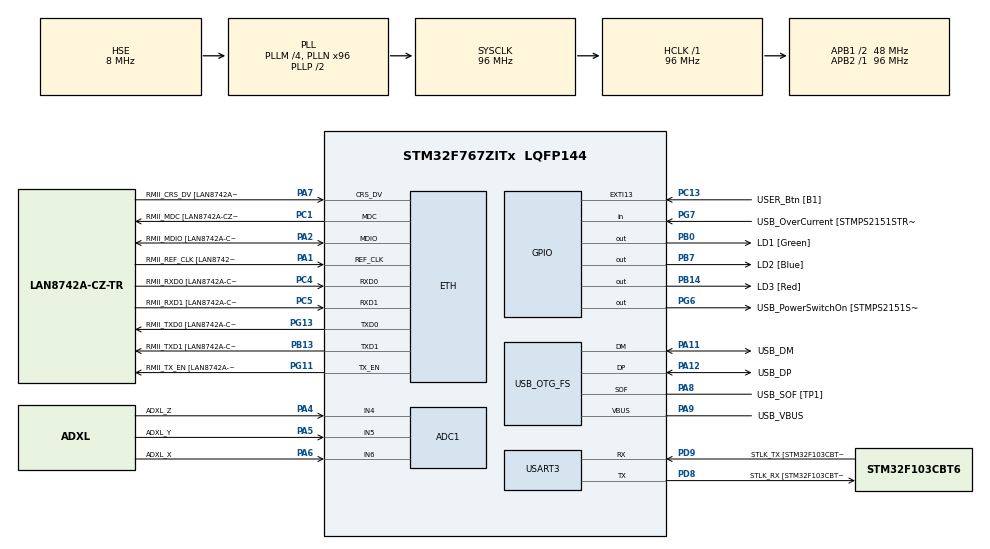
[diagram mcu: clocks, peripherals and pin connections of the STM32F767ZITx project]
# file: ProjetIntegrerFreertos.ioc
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ADC1.Channel-0\#ChannelRegularConversion=ADC_CHANNEL_6
ADC1.Channel-1\#ChannelRegularConversion=ADC_CHANNEL_5
ADC1.Channel-2\#ChannelRegularConversion=ADC_CHANNEL_4
ADC1.DMAContinuousRequests=ENABLE
ADC1.ExternalTrigConv=ADC_EXTERNALTRIGCONV_T2_TRGO
ADC1.NbrOfConversion=3
ADC1.NbrOfConversionFlag=1
ADC1.Rank-0\#ChannelRegularConversion=1
ADC1.Rank-1\#ChannelRegularConversion=2
ADC1.Rank-2\#ChannelRegularConversion=3
ADC1.SamplingTime-0\#ChannelRegularConversion=ADC_SAMPLETIME_144CYCLES
ADC1.SamplingTime-1\#ChannelRegularConversion=ADC_SAMPLETIME_144CYCLES
ADC1.SamplingTime-2\#ChannelRegularConversion=ADC_SAMPLETIME_144CYCLES
ADC1.ScanConvMode=ADC_SCAN_ENABLE
ADC1.master=1
CORTEX_M7.default_mode_Activation=1
Dma.ADC1.0.Direction=DMA_PERIPH_TO_MEMORY
Dma.ADC1.0.FIFOMode=DMA_FIFOMODE_DISABLE
Dma.ADC1.0.Instance=DMA2_Stream0
Dma.ADC1.0.MemDataAlignment=DMA_MDATAALIGN_HALFWORD
Dma.ADC1.0.MemInc=DMA_MINC_ENABLE
Dma.ADC1.0.Mode=DMA_CIRCULAR
Dma.ADC1.0.PeriphDataAlignment=DMA_PDATAALIGN_HALFWORD
Dma.ADC1.0.PeriphInc=DMA_PINC_DISABLE
Dma.ADC1.0.Priority=DMA_PRIORITY_LOW
Dma.Request0=ADC1
ETH.MACAddr=02\:00\:00\:00\:00\:02
ETH.MediaInterface=HAL_ETH_RMII_MODE
ETH.PHY_Name=LAN8742A_PHY_ADDRESS
ETH.PHY_Value=0
ETH.PhyAddress=0
FREERTOS.Tasks01=defaultTask,24,256,StartDefaultTask,Default,NULL,Dynamic,NULL,NULL;masterTask,32,256,StartMasterTask,Default,NULL,Dynamic,NULL,NULL;acquisitionTask,40,256,StartAquisitionTask,Default,NULL,Dynamic,NULL,NULL;heartbeatTask,8,256,StartHeartbeatTask,Default,NULL,Dynamic,NULL,NULL;broadcastTask,24,512,StartBroadcastTask,Default,NULL,Dynamic,NULL,NULL;debugTask,16,256,StartDebugTask,Default,NULL,Dynamic,NULL,NULL
LWIP.BSP.number=1
LWIP.IP_ADDRESS=192.168.001.002
LWIP.LWIP_DHCP=0
LWIP.NETMASK_ADDRESS=255.255.255.240
LWIP.Version=v2.1.2_Cube
LWIP0.BSP.STBoard=false
LWIP0.BSP.api=BSP_COMPONENT_DRIVER
LWIP0.BSP.component=LAN8742
LWIP0.BSP.instance=LAN8742
LWIP0.BSP.name=Driver_PHY
LWIP0.BSP.semaphore=S_LAN8742
LWIP0.BSP.solution=LAN8742
Mcu.Family=STM32F7
Mcu.Name=STM32F767ZITx
Mcu.Package=LQFP144
NVIC.DMA2_Stream0_IRQn=true\:5\:0\:false\:false\:true\:true\:false\:true\:true
NVIC.ETH_IRQn=true\:5\:0\:false\:false\:true\:true\:false\:true\:true
NVIC.EXTI15_10_IRQn=true\:5\:0\:false\:false\:true\:true\:true\:true\:true
NVIC.PriorityGroup=NVIC_PRIORITYGROUP_4
NVIC.TIM6_DAC_IRQn=true\:15\:0\:false\:false\:true\:false\:false\:true\:true
NVIC.TimeBase=TIM6_DAC_IRQn
NVIC.TimeBaseIP=TIM6
PA1.GPIO_Label=RMII_REF_CLK [LAN8742A-CZ-TR_REFCLK0]
PA1.Mode=RMII
PA1.Signal=ETH_REF_CLK
PA10.GPIO_Label=USB_ID
PA10.Signal=USB_OTG_FS_ID
PA11.GPIO_Label=USB_DM
PA11.Mode=Device_Only
PA11.Signal=USB_OTG_FS_DM
PA12.GPIO_Label=USB_DP
PA12.Mode=Device_Only
PA12.Signal=USB_OTG_FS_DP
PA13.GPIO_Label=TMS
PA13.Mode=Serial_Wire
PA13.Signal=SYS_JTMS-SWDIO
PA14.GPIO_Label=TCK
PA14.Mode=Serial_Wire
PA14.Signal=SYS_JTCK-SWCLK
PA2.GPIO_Label=RMII_MDIO [LAN8742A-CZ-TR_MDIO]
PA2.Mode=RMII
PA2.Signal=ETH_MDIO
PA4.GPIO_Label=ADXL_Z
PA4.Signal=ADCx_IN4
PA5.GPIO_Label=ADXL_Y
PA5.Signal=ADCx_IN5
PA6.GPIO_Label=ADXL_X
PA6.Signal=ADCx_IN6
PA7.GPIO_Label=RMII_CRS_DV [LAN8742A-CZ-TR_CRS_DV]
PA7.Mode=RMII
PA7.Signal=ETH_CRS_DV
PA8.GPIO_Label=USB_SOF [TP1]
PA8.Mode=Activate_SOF_FS
PA8.Signal=USB_OTG_FS_SOF
PA9.GPIO_Label=USB_VBUS
PA9.Mode=Activate_VBUS
PA9.Signal=USB_OTG_FS_VBUS
PB0.GPIO_Label=LD1 [Green]
PB0.Signal=GPIO_Output
PB13.GPIO_Label=RMII_TXD1 [LAN8742A-CZ-TR_TXD1]
PB13.Mode=RMII
PB13.Signal=ETH_TXD1
PB14.GPIO_Label=LD3 [Red]
PB14.Signal=GPIO_Output
PB3.GPIO_Label=SWO
PB3.Signal=SYS_JTDO-SWO
PB7.GPIO_Label=LD2 [Blue]
PB7.Signal=GPIO_Output
PC1.GPIO_Label=RMII_MDC [LAN8742A-CZ-TR_MDC]
PC1.Mode=RMII
PC1.Signal=ETH_MDC
PC13.GPIO_Label=USER_Btn [B1]
PC13.Signal=GPXTI13
PC14/OSC32_IN.Mode=LSE-External-Oscillator
PC14/OSC32_IN.Signal=RCC_OSC32_IN
PC15/OSC32_OUT.Mode=LSE-External-Oscillator
PC15/OSC32_OUT.Signal=RCC_OSC32_OUT
PC4.GPIO_Label=RMII_RXD0 [LAN8742A-CZ-TR_RXD0]
PC4.Mode=RMII
PC4.Signal=ETH_RXD0
PC5.GPIO_Label=RMII_RXD1 [LAN8742A-CZ-TR_RXD1]
PC5.Mode=RMII
PC5.Signal=ETH_RXD1
PD8.GPIO_Label=STLK_RX [STM32F103CBT6_PA3]
PD8.Mode=Asynchronous
PD8.Signal=USART3_TX
PD9.GPIO_Label=STLK_TX [STM32F103CBT6_PA2]
PD9.Mode=Asynchronous
PD9.Signal=USART3_RX
PG11.GPIO_Label=RMII_TX_EN [LAN8742A-CZ-TR_TXEN]
PG11.Mode=RMII
PG11.Signal=ETH_TX_EN
PG13.GPIO_Label=RMII_TXD0 [LAN8742A-CZ-TR_TXD0]
PG13.Mode=RMII
PG13.Signal=ETH_TXD0
PG6.GPIO_Label=USB_PowerSwitchOn [STMPS2151STR_EN]
PG6.Signal=GPIO_Output
PG7.GPIO_Label=USB_OverCurrent [STMPS2151STR_FAULT]
PG7.Signal=GPIO_Input
PH0/OSC_IN.GPIO_Label=MCO [STM32F103CBT6_PA8]
PH0/OSC_IN.Mode=HSE-External-Clock-Source
PH0/OSC_IN.Signal=RCC_OSC_IN
PH1/OSC_OUT.Mode=HSE-External-Clock-Source
PH1/OSC_OUT.Signal=RCC_OSC_OUT
ProjectManager.HeapSize=0x200
ProjectManager.StackSize=0x400
ProjectManager.TargetToolchain=STM32CubeIDE
RCC.48MHZClocksFreq_Value=24000000
RCC.AHBFreq_Value=96000000
RCC.APB1CLKDivider=RCC_HCLK_DIV2
RCC.APB1Freq_Value=48000000
RCC.APB1TimFreq_Value=96000000
RCC.APB2Freq_Value=96000000
RCC.APB2TimFreq_Value=96000000
RCC.CortexFreq_Value=96000000
RCC.HCLKFreq_Value=96000000
RCC.HSE_VALUE=8000000
RCC.HSI_VALUE=16000000
RCC.PLLM=4
RCC.PLLMUL=RCC_PLL_MUL9
RCC.PLLN=96
RCC.PLLQ=4
RCC.PRESCALERUSB=RCC_USBCLKSOURCE_PLL_DIV1_5
RCC.SYSCLKFreq_VALUE=96000000
RCC.SYSCLKSource=RCC_SYSCLKSOURCE_PLLCLK
RCC.SYSCLKSourceVirtual=RCC_SYSCLKSOURCE_PLLCLK
RCC.USBFreq_Value=48000000
RCC.VCOOutputFreq_Value=192000000
SH.ADCx_IN4.0=ADC1_IN4,IN4
SH.ADCx_IN5.0=ADC1_IN5,IN5
SH.ADCx_IN6.0=ADC1_IN6,IN6
TIM2.Period=9999
TIM2.Prescaler=95
TIM2.TIM_MasterOutputTrigger=TIM_TRGO_UPDATE
USART3.VirtualMode-Asynchronous=VM_ASYNC
USB_OTG_FS.VirtualMode=Device_Only
VP_FREERTOS_VS_CMSIS_V2.Mode=CMSIS_V2
VP_LWIP_VS_Enabled.Mode=Enabled
VP_SYS_VS_tim6.Mode=TIM6
VP_TIM2_VS_ClockSourceINT.Mode=Internal
board=NUCLEO-F767ZI

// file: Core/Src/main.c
/* USER CODE BEGIN Header */
/**
 ******************************************************************************
 * @file           : main.c
 * @brief          : Main program body
 ******************************************************************************
 * @attention
 *
 * Copyright (c) 2026 STMicroelectronics.
 * All rights reserved.
 *
 * This software is licensed under terms that can be found in the LICENSE file
 * in the root directory of this software component.
 * If no LICENSE file comes with this software, it is provided AS-IS.
 *
 ******************************************************************************
 */
/* USER CODE END Header */
#include "main.h"
#include "cmsis_os.h"
#include "lwip.h"

/* USER CODE BEGIN PD */
#define SYSTEME_EN_MARCHE 1U
#define ADC_NB_VOIES      3U
/* USER CODE END PD */

ADC_HandleTypeDef hadc1;
DMA_HandleTypeDef hdma_adc1;

TIM_HandleTypeDef htim2;

UART_HandleTypeDef huart3;

PCD_HandleTypeDef hpcd_USB_OTG_FS;

/* Definitions for defaultTask */
osThreadId_t defaultTaskHandle;
const osThreadAttr_t defaultTask_attributes = {
		.name = "defaultTask",
		.stack_size = 256 * 4,
		.priority = (osPriority_t) osPriorityNormal,
};
/* Definitions for masterTask */
osThreadId_t masterTaskHandle;
const osThreadAttr_t masterTask_attributes = {
		.name = "masterTask",
		.stack_size = 256 * 4,
		.priority = (osPriority_t) osPriorityAboveNormal,
};
/* Definitions for acquisitionTask */
osThreadId_t acquisitionTaskHandle;
const osThreadAttr_t acquisitionTask_attributes = {
		.name = "acquisitionTask",
		.stack_size = 256 * 4,
		.priority = (osPriority_t) osPriorityHigh,
};
/* Definitions for heartbeatTask */
osThreadId_t heartbeatTaskHandle;
const osThreadAttr_t heartbeatTask_attributes = {
		.name = "heartbeatTask",
		.stack_size = 256 * 4,
		.priority = (osPriority_t) osPriorityLow,
};
/* Definitions for broadcastTask */
osThreadId_t broadcastTaskHandle;
const osThreadAttr_t broadcastTask_attributes = {
		.name = "broadcastTask",
		.stack_size = 512 * 4,
		.priority = (osPriority_t) osPriorityNormal,
};
/* Definitions for debugTask */
osThreadId_t debugTaskHandle;
const osThreadAttr_t debugTask_attributes = {
		.name = "debugTask",
		.stack_size = 256 * 4,
		.priority = (osPriority_t) osPriorityBelowNormal,
};
/* USER CODE BEGIN PV */

static osEventFlagsId_t etatSysteme;
static osSemaphoreId_t btnSem;
static uint16_t adcBuffer[ADC_NB_VOIES];
static volatile uint8_t dmaConvComplete = 0U;
static volatile uint16_t dernierAx = 0U;
static volatile uint16_t dernierAy = 0U;
static volatile uint16_t dernierAz = 0U;

/* USER CODE END PV */

void SystemClock_Config(void);
static void MPU_Config(void);
static void MX_GPIO_Init(void);
static void MX_DMA_Init(void);
static void MX_ADC1_Init(void);
static void MX_USART3_UART_Init(void);
static void MX_USB_OTG_FS_PCD_Init(void);
static void MX_TIM2_Init(void);
void StartDefaultTask(void *argument);
void StartMasterTask(void *argument);
void StartAquisitionTask(void *argument);
void StartHeartbeatTask(void *argument);
void StartBroadcastTask(void *argument);
void StartDebugTask(void *argument);

int main(void)
{

	/* MPU Configuration--------------------------------------------------------*/
	MPU_Config();

	/* MCU Configuration--------------------------------------------------------*/

	/* Reset of all peripherals, Initializes the Flash interface and the Systick. */
	HAL_Init();

	/* Configure the system clock */
	SystemClock_Config();

	/* Initialize all configured peripherals */
	MX_GPIO_Init();
	MX_DMA_Init();
	MX_ADC1_Init();
	MX_USART3_UART_Init();
	MX_USB_OTG_FS_PCD_Init();
	MX_TIM2_Init();

	/* Init scheduler */
	osKernelInitialize();

	/* USER CODE BEGIN RTOS_SEMAPHORES */
	btnSem = osSemaphoreNew(1, 0, NULL);
	if (btnSem == NULL)
	{
		Error_Handler();
	}
	/* USER CODE END RTOS_SEMAPHORES */

	/* Create the thread(s) */
	/* creation of defaultTask */
	defaultTaskHandle = osThreadNew(StartDefaultTask, NULL, &defaultTask_attributes);

	/* creation of masterTask */
	masterTaskHandle = osThreadNew(StartMasterTask, NULL, &masterTask_attributes);

	/* creation of acquisitionTask */
	acquisitionTaskHandle = osThreadNew(StartAquisitionTask, NULL, &acquisitionTask_attributes);

	/* creation of heartbeatTask */
	heartbeatTaskHandle = osThreadNew(StartHeartbeatTask, NULL, &heartbeatTask_attributes);

	/* creation of broadcastTask */
	broadcastTaskHandle = osThreadNew(StartBroadcastTask, NULL, &broadcastTask_attributes);

	/* creation of debugTask */
	debugTaskHandle = osThreadNew(StartDebugTask, NULL, &debugTask_attributes);

	/* USER CODE BEGIN RTOS_EVENTS */

	// Crée le groupe de drapeaux du système avec les attributs par défaut.
	etatSysteme = osEventFlagsNew(NULL);

	// Si la création échoue, le RTOS renvoie NULL.
	if (etatSysteme == NULL)
	{
		Error_Handler(); // Arrête le programme, car les tâches ont besoin de ce groupe.
	}

	/* add events, ... */
	/* USER CODE END RTOS_EVENTS */

	/* Start scheduler */
	osKernelStart();

	/* We should never get here as control is now taken by the scheduler */

	/* Infinite loop */
	while (1)
	{

	}
}

void SystemClock_Config(void)
{
	RCC_OscInitTypeDef RCC_OscInitStruct = {0};
	RCC_ClkInitTypeDef RCC_ClkInitStruct = {0};

	/** Configure LSE Drive Capability
	 */
	HAL_PWR_EnableBkUpAccess();

	/** Configure the main internal regulator output voltage
	 */
	__HAL_RCC_PWR_CLK_ENABLE();
	__HAL_PWR_VOLTAGESCALING_CONFIG(PWR_REGULATOR_VOLTAGE_SCALE3);

	/** Initializes the RCC Oscillators according to the specified parameters
	 * in the RCC_OscInitTypeDef structure.
	 */
	RCC_OscInitStruct.OscillatorType = RCC_OSCILLATORTYPE_HSE;
	RCC_OscInitStruct.HSEState = RCC_HSE_BYPASS;
	RCC_OscInitStruct.PLL.PLLState = RCC_PLL_ON;
	RCC_OscInitStruct.PLL.PLLSource = RCC_PLLSOURCE_HSE;
	RCC_OscInitStruct.PLL.PLLM = 4;
	RCC_OscInitStruct.PLL.PLLN = 96;
	RCC_OscInitStruct.PLL.PLLP = RCC_PLLP_DIV2;
	RCC_OscInitStruct.PLL.PLLQ = 4;
	RCC_OscInitStruct.PLL.PLLR = 2;
	if (HAL_RCC_OscConfig(&RCC_OscInitStruct) != HAL_OK)
	{
		Error_Handler();
	}

	/** Activate the Over-Drive mode
	 */
	if (HAL_PWREx_EnableOverDrive() != HAL_OK)
	{
		Error_Handler();
	}

	/** Initializes the CPU, AHB and APB buses clocks
	 */
	RCC_ClkInitStruct.ClockType = RCC_CLOCKTYPE_HCLK|RCC_CLOCKTYPE_SYSCLK
			|RCC_CLOCKTYPE_PCLK1|RCC_CLOCKTYPE_PCLK2;
	RCC_ClkInitStruct.SYSCLKSource = RCC_SYSCLKSOURCE_PLLCLK;
	RCC_ClkInitStruct.AHBCLKDivider = RCC_SYSCLK_DIV1;
	RCC_ClkInitStruct.APB1CLKDivider = RCC_HCLK_DIV2;
	RCC_ClkInitStruct.APB2CLKDivider = RCC_HCLK_DIV1;

	if (HAL_RCC_ClockConfig(&RCC_ClkInitStruct, FLASH_LATENCY_3) != HAL_OK)
	{
		Error_Handler();
	}
}

static void MX_ADC1_Init(void)
{

	ADC_ChannelConfTypeDef sConfig = {0};

	/** Configure the global features of the ADC (Clock, Resolution, Data Alignment and number of conversion)
	 */
	hadc1.Instance = ADC1;
	hadc1.Init.ClockPrescaler = ADC_CLOCK_SYNC_PCLK_DIV4;
	hadc1.Init.Resolution = ADC_RESOLUTION_12B;
	hadc1.Init.ScanConvMode = ADC_SCAN_ENABLE;
	hadc1.Init.ContinuousConvMode = DISABLE;
	hadc1.Init.DiscontinuousConvMode = DISABLE;
	hadc1.Init.ExternalTrigConvEdge = ADC_EXTERNALTRIGCONVEDGE_RISING;
	hadc1.Init.ExternalTrigConv = ADC_EXTERNALTRIGCONV_T2_TRGO;
	hadc1.Init.DataAlign = ADC_DATAALIGN_RIGHT;
	hadc1.Init.NbrOfConversion = 3;
	hadc1.Init.DMAContinuousRequests = ENABLE;
	hadc1.Init.EOCSelection = ADC_EOC_SINGLE_CONV;
	if (HAL_ADC_Init(&hadc1) != HAL_OK)
	{
		Error_Handler();
	}

	/** Configure for the selected ADC regular channel its corresponding rank in the sequencer and its sample time.
	 */
	sConfig.Channel = ADC_CHANNEL_6;
	sConfig.Rank = ADC_REGULAR_RANK_1;
	sConfig.SamplingTime = ADC_SAMPLETIME_144CYCLES;
	if (HAL_ADC_ConfigChannel(&hadc1, &sConfig) != HAL_OK)
	{
		Error_Handler();
	}

	/** Configure for the selected ADC regular channel its corresponding rank in the sequencer and its sample time.
	 */
	sConfig.Channel = ADC_CHANNEL_5;
	sConfig.Rank = ADC_REGULAR_RANK_2;
	if (HAL_ADC_ConfigChannel(&hadc1, &sConfig) != HAL_OK)
	{
		Error_Handler();
	}

	/** Configure for the selected ADC regular channel its corresponding rank in the sequencer and its sample time.
	 */
	sConfig.Channel = ADC_CHANNEL_4;
	sConfig.Rank = ADC_REGULAR_RANK_3;
	if (HAL_ADC_ConfigChannel(&hadc1, &sConfig) != HAL_OK)
	{
		Error_Handler();
	}

}

static void MX_TIM2_Init(void)
{

	TIM_ClockConfigTypeDef sClockSourceConfig = {0};
	TIM_MasterConfigTypeDef sMasterConfig = {0};

	htim2.Instance = TIM2;
	htim2.Init.Prescaler = 95;
	htim2.Init.CounterMode = TIM_COUNTERMODE_UP;
	htim2.Init.Period = 9999;
	htim2.Init.ClockDivision = TIM_CLOCKDIVISION_DIV1;
	htim2.Init.AutoReloadPreload = TIM_AUTORELOAD_PRELOAD_DISABLE;
	if (HAL_TIM_Base_Init(&htim2) != HAL_OK)
	{
		Error_Handler();
	}
	sClockSourceConfig.ClockSource = TIM_CLOCKSOURCE_INTERNAL;
	if (HAL_TIM_ConfigClockSource(&htim2, &sClockSourceConfig) != HAL_OK)
	{
		Error_Handler();
	}
	sMasterConfig.MasterOutputTrigger = TIM_TRGO_UPDATE;
	sMasterConfig.MasterSlaveMode = TIM_MASTERSLAVEMODE_DISABLE;
	if (HAL_TIMEx_MasterConfigSynchronization(&htim2, &sMasterConfig) != HAL_OK)
	{
		Error_Handler();
	}

}

static void MX_USART3_UART_Init(void)
{

	huart3.Instance = USART3;
	huart3.Init.BaudRate = 115200;
	huart3.Init.WordLength = UART_WORDLENGTH_8B;
	huart3.Init.StopBits = UART_STOPBITS_1;
	huart3.Init.Parity = UART_PARITY_NONE;
	huart3.Init.Mode = UART_MODE_TX_RX;
	huart3.Init.HwFlowCtl = UART_HWCONTROL_NONE;
	huart3.Init.OverSampling = UART_OVERSAMPLING_16;
	huart3.Init.OneBitSampling = UART_ONE_BIT_SAMPLE_DISABLE;
	huart3.AdvancedInit.AdvFeatureInit = UART_ADVFEATURE_NO_INIT;
	if (HAL_UART_Init(&huart3) != HAL_OK)
	{
		Error_Handler();
	}

}

static void MX_USB_OTG_FS_PCD_Init(void)
{

	hpcd_USB_OTG_FS.Instance = USB_OTG_FS;
	hpcd_USB_OTG_FS.Init.dev_endpoints = 6;
	hpcd_USB_OTG_FS.Init.speed = PCD_SPEED_FULL;
	hpcd_USB_OTG_FS.Init.dma_enable = DISABLE;
	hpcd_USB_OTG_FS.Init.phy_itface = PCD_PHY_EMBEDDED;
	hpcd_USB_OTG_FS.Init.Sof_enable = ENABLE;
	hpcd_USB_OTG_FS.Init.low_power_enable = DISABLE;
	hpcd_USB_OTG_FS.Init.lpm_enable = DISABLE;
	hpcd_USB_OTG_FS.Init.vbus_sensing_enable = ENABLE;
	hpcd_USB_OTG_FS.Init.use_dedicated_ep1 = DISABLE;
	if (HAL_PCD_Init(&hpcd_USB_OTG_FS) != HAL_OK)
	{
		Error_Handler();
	}

}

static void MX_DMA_Init(void)
{

	/* DMA controller clock enable */
	__HAL_RCC_DMA2_CLK_ENABLE();

	/* DMA interrupt init */
	/* DMA2_Stream0_IRQn interrupt configuration */
	HAL_NVIC_SetPriority(DMA2_Stream0_IRQn, 5, 0);
	HAL_NVIC_EnableIRQ(DMA2_Stream0_IRQn);

}

static void MX_GPIO_Init(void)
{
	GPIO_InitTypeDef GPIO_InitStruct = {0};

	/* GPIO Ports Clock Enable */
	__HAL_RCC_GPIOC_CLK_ENABLE();
	__HAL_RCC_GPIOH_CLK_ENABLE();
	__HAL_RCC_GPIOA_CLK_ENABLE();
	__HAL_RCC_GPIOB_CLK_ENABLE();
	__HAL_RCC_GPIOD_CLK_ENABLE();
	__HAL_RCC_GPIOG_CLK_ENABLE();

	/*Configure GPIO pin Output Level */
	HAL_GPIO_WritePin(GPIOB, LD1_Pin|LD3_Pin|LD2_Pin, GPIO_PIN_RESET);

	/*Configure GPIO pin Output Level */
	HAL_GPIO_WritePin(USB_PowerSwitchOn_GPIO_Port, USB_PowerSwitchOn_Pin, GPIO_PIN_RESET);

	/*Configure GPIO pin : USER_Btn_Pin */
	GPIO_InitStruct.Pin = USER_Btn_Pin;
	GPIO_InitStruct.Mode = GPIO_MODE_IT_RISING;
	GPIO_InitStruct.Pull = GPIO_NOPULL;
	HAL_GPIO_Init(USER_Btn_GPIO_Port, &GPIO_InitStruct);

	/*Configure GPIO pins : LD1_Pin LD3_Pin LD2_Pin */
	GPIO_InitStruct.Pin = LD1_Pin|LD3_Pin|LD2_Pin;
	GPIO_InitStruct.Mode = GPIO_MODE_OUTPUT_PP;
	GPIO_InitStruct.Pull = GPIO_NOPULL;
	GPIO_InitStruct.Speed = GPIO_SPEED_FREQ_LOW;
	HAL_GPIO_Init(GPIOB, &GPIO_InitStruct);

	/*Configure GPIO pin : USB_PowerSwitchOn_Pin */
	GPIO_InitStruct.Pin = USB_PowerSwitchOn_Pin;
	GPIO_InitStruct.Mode = GPIO_MODE_OUTPUT_PP;
	GPIO_InitStruct.Pull = GPIO_NOPULL;
	GPIO_InitStruct.Speed = GPIO_SPEED_FREQ_LOW;
	HAL_GPIO_Init(USB_PowerSwitchOn_GPIO_Port, &GPIO_InitStruct);

	/*Configure GPIO pin : USB_OverCurrent_Pin */
	GPIO_InitStruct.Pin = USB_OverCurrent_Pin;
	GPIO_InitStruct.Mode = GPIO_MODE_INPUT;
	GPIO_InitStruct.Pull = GPIO_NOPULL;
	HAL_GPIO_Init(USB_OverCurrent_GPIO_Port, &GPIO_InitStruct);

	/* EXTI interrupt init*/
	HAL_NVIC_SetPriority(EXTI15_10_IRQn, 5, 0);
	HAL_NVIC_EnableIRQ(EXTI15_10_IRQn);

}

/* USER CODE BEGIN 4 */

void HAL_GPIO_EXTI_Callback(uint16_t GPIO_Pin)
{
	if (GPIO_Pin == USER_Btn_Pin && btnSem != NULL)
	{
		osSemaphoreRelease(btnSem);
	}
}

void HAL_ADC_ConvCpltCallback(ADC_HandleTypeDef *hadc)
{
	if (hadc->Instance == ADC1)
	{
		dmaConvComplete = 1U;
	}
}

/* USER CODE END 4 */

void StartDefaultTask(void *argument)
{
	/* init code for LWIP */
	MX_LWIP_Init();
	for(;;)
	{
		osDelay(1);
	}
}

void StartMasterTask(void *argument)
{
	/* USER CODE BEGIN StartMasterTask */
	for (;;)
	{
		if (osSemaphoreAcquire(btnSem, osWaitForever) == osOK)
		{
			if ((osEventFlagsGet(etatSysteme) & SYSTEME_EN_MARCHE) == 0)
			{
				osEventFlagsSet(etatSysteme, SYSTEME_EN_MARCHE);
				HAL_GPIO_WritePin(LD3_GPIO_Port, LD3_Pin, GPIO_PIN_RESET);
			}
			else
			{
				osEventFlagsClear(etatSysteme, SYSTEME_EN_MARCHE);
				HAL_GPIO_WritePin(LD3_GPIO_Port, LD3_Pin, GPIO_PIN_SET);
			}
		}
	}
	/* USER CODE END StartMasterTask */
}

void StartAquisitionTask(void *argument)
{
	/* USER CODE BEGIN StartAquisitionTask */
	uint8_t dmaActif = 0U;

	for (;;)
	{
		osEventFlagsWait(etatSysteme, SYSTEME_EN_MARCHE, osFlagsWaitAny | osFlagsNoClear, osWaitForever);

		if (dmaActif == 0U)
		{
			dmaConvComplete = 0U;
			if (HAL_ADC_Start_DMA(&hadc1, (uint32_t *)adcBuffer, ADC_NB_VOIES) == HAL_OK)
			{
				HAL_TIM_Base_Start(&htim2);
				dmaActif = 1U;
			}
		}

		while ((osEventFlagsGet(etatSysteme) & SYSTEME_EN_MARCHE) != 0U)
		{
			if (dmaConvComplete != 0U)
			{
				dmaConvComplete = 0U;
				dernierAx = adcBuffer[0];
				dernierAy = adcBuffer[1];
				dernierAz = adcBuffer[2];
			}
			osDelay(5);
		}

		if (dmaActif != 0U)
		{
			HAL_TIM_Base_Stop(&htim2);
			HAL_ADC_Stop_DMA(&hadc1);
			dmaActif = 0U;
		}
	}
	/* USER CODE END StartAquisitionTask */
}

void StartHeartbeatTask(void *argument)
{
	/* USER CODE BEGIN StartHeartbeatTask */
	/* Infinite loop */
	for(;;)
	{
		HAL_GPIO_TogglePin(LD1_GPIO_Port, LD1_Pin);
		osDelay(500);
	}
	/* USER CODE END StartHeartbeatTask */
}

void StartBroadcastTask(void *argument)
{
	for(;;)
	{
		osDelay(1);
	}
}

void StartDebugTask(void *argument)
{
	for(;;)
	{
		osDelay(1);
	}
}

/* MPU Configuration */

void MPU_Config(void)
{
	MPU_Region_InitTypeDef MPU_InitStruct = {0};

	/* Disables the MPU */
	HAL_MPU_Disable();

	/** Initializes and configures the Region and the memory to be protected
	 */
	MPU_InitStruct.Enable = MPU_REGION_ENABLE;
	MPU_InitStruct.Number = MPU_REGION_NUMBER0;
	MPU_InitStruct.BaseAddress = 0x0;
	MPU_InitStruct.Size = MPU_REGION_SIZE_4GB;
	MPU_InitStruct.SubRegionDisable = 0x87;
	MPU_InitStruct.TypeExtField = MPU_TEX_LEVEL0;
	MPU_InitStruct.AccessPermission = MPU_REGION_NO_ACCESS;
	MPU_InitStruct.DisableExec = MPU_INSTRUCTION_ACCESS_DISABLE;
	MPU_InitStruct.IsShareable = MPU_ACCESS_SHAREABLE;
	MPU_InitStruct.IsCacheable = MPU_ACCESS_NOT_CACHEABLE;
	MPU_InitStruct.IsBufferable = MPU_ACCESS_NOT_BUFFERABLE;

	HAL_MPU_ConfigRegion(&MPU_InitStruct);
	/* Enables the MPU */
	HAL_MPU_Enable(MPU_PRIVILEGED_DEFAULT);

}

void HAL_TIM_PeriodElapsedCallback(TIM_HandleTypeDef *htim)
{
	if (htim->Instance == TIM6)
	{
		HAL_IncTick();
	}
}

void Error_Handler(void)
{
	__disable_irq();
	while (1)
	{
	}
}
